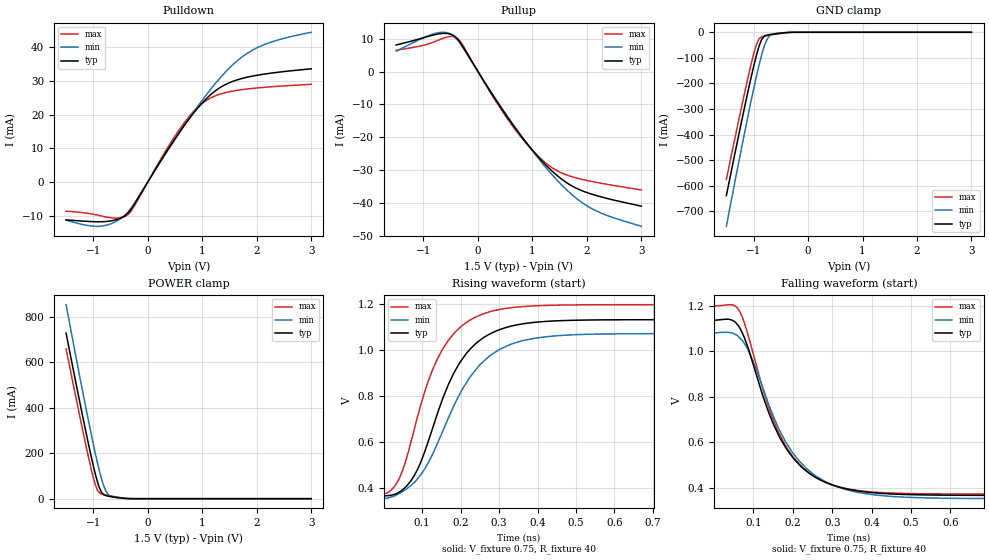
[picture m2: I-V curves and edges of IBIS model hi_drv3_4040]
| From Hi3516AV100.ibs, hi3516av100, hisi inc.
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|   Model hi_drv3_4040
[Model]   hi_drv3_4040
Model_type   I/O
Polarity   Non-Inverting
Enable   Active-High
Vinl = 0.575
Vinh = 0.925
Vmeas = 0.75
Cref = 0
Rref = 40
Vref = 0.75
| variable   typ   min   max
C_comp   3.71825p   3.5711p   3.88438p
| Subparameter   typ   min   max
[Model Spec]
Vinl   0.575   0.575   0.575
Vinh   0.925   0.925   0.925
Vmeas   0.75   0.75   0.75
Cref   0   0   0
Rref   40   40   40
Vref   0.75   0.75   0.75
| Variable   typ   min   max
[Temperature Range] 25   125   -40
| Variable   typ   min   max
[Voltage Range]   1.5   1.425   1.575
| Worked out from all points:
|   slope of the pulldown table from 0 to 0.225 V, typ, clamps not added: 37.7 ohm
|   slope of the pullup table from 0 to 0.225 V, typ, clamps not added: 37.6 ohm
|   GND clamp passes 1 mA (typ) near -0.39 V on its own axis
|   POWER clamp passes 1 mA (typ) near -0.41 V on its own axis
|   rising waveform, V_fixture 0.75, R_fixture 40: 20-80 % time 114ps typ, 135ps min, 103ps max; typ from 0.366 V to 1.13 V
|   falling waveform, V_fixture 0.75, R_fixture 40: 20-80 % time 114ps typ, 123ps min, 107ps max; typ from 1.14 V to 0.367 V
[Power_clamp]
| Note that the [POWER_clamp] voltage table is referenced to Vcc
| and is calculated using Vtable=Vcc - Vmeasured.
| Voltage   I(typ)   I(min)   I(max)
-1.5V     727.7mA    852.8mA    658.7mA
-1.125V   281.1mA    385.1mA    221.9mA
-1.025V   171mA      267.7mA    116.1mA
-975mV    120.3mA    211.6mA    70.26mA
-925mV    75.44mA    158.3mA    36.86mA
-900mV    54.88mA    133.8mA    29.99mA
-850mV    27.44mA    88.23mA    21.16mA
-775mV    14.07mA    35.68mA    16.66mA
-725mV    11.03mA    17.7mA     14.3mA
-625mV    7.126mA    6.658mA    9.778mA
-325mV    220.9uA    245.7uA    291.3uA
3V        -35.46nA   -806.7nA   -14.61nA
[Pulldown]
| Voltage   I(typ)   I(min)   I(max)
-1.5V     -11.25mA   -11.33mA   -8.681mA
-900mV    -11.82mA   -13.16mA   -9.914mA
-650mV    -11.47mA   -12.22mA   -10.69mA
-450mV    -10.33mA   -10.29mA   -10.43mA
-300mV    -7.938mA   -7.636mA   -8.489mA
600mV     15.21mA    15.08mA    16.01mA
850mV     20.64mA    20.93mA    21.1mA
1.05V     24.32mA    25.35mA    23.94mA
1.4V      28.71mA    32.2mA     26.41mA
1.85V     31.19mA    38.44mA    27.64mA
2.3V      32.38mA    41.7mA     28.29mA
3V        33.58mA    44.43mA    28.99mA
[Pullup]
| Voltage   I(typ)   I(min)   I(max)
-1.5V     8.071mA    6.185mA    6.47mA
-825mV    11.07mA    11.39mA    8.858mA
-625mV    11.59mA    11.93mA    10.19mA
-475mV    11.15mA    11.13mA    10.69mA
-325mV    8.772mA    8.49mA     9.171mA
225mV     -5.971mA   -5.809mA   -6.292mA
675mV     -16.96mA   -16.81mA   -17.44mA
1.225V    -28.05mA   -28.76mA   -27.55mA
1.6V      -33.48mA   -35.51mA   -31.27mA
1.975V    -36.65mA   -40.56mA   -33.02mA
2.375V    -38.61mA   -43.79mA   -34.31mA
3V        -40.93mA   -47.06mA   -36.01mA
[GND_clamp]
| Voltage   I(typ)   I(min)   I(max)
-1.5V     -638.4mA   -758mA     -574.9mA
-1.15V    -277.9mA   -376.6mA   -222.6mA
-1.05V    -180.7mA   -272.8mA   -128.8mA
-950mV    -91.74mA   -174.3mA   -48.96mA
-900mV    -54.39mA   -128.6mA   -25.47mA
-850mV    -27.43mA   -86.91mA   -17.81mA
-800mV    -14.76mA   -51.66mA   -15.26mA
-750mV    -10.72mA   -26.32mA   -13.3mA
-700mV    -8.829mA   -12.74mA   -11.42mA
-600mV    -5.884mA   -5.023mA   -7.823mA
-300mV    -153uA     -214.7uA   -185.4uA
3V        64.26nA    942.4nA    12.95nA
[Ramp]
| Variable   typ   min   max
dV/dt_r   0.463908/0.113802n 0.438317/0.122466n 0.498782/0.107301n
dV/dt_f   0.463908/0.113802n 0.438317/0.122466n 0.498782/0.107301n
R_load = 40
[Rising_Waveform]
V_fixture = 0.75
V_fixture_min = 0.7125
V_fixture_max = 0.7875
R_fixture = 40
| Time   V(typ)   V(min)   V(max)
700fs     366.4mV    354.3mV    374.8mV
41.96ps   384.2mV    378.1mV    447.6mV
78.41ps   451.4mV    423.2mV    649.2mV
124.9ps   649.4mV    540.4mV    906.5mV
180.2ps   893.3mV    750.4mV    1.069V
221ps     998.3mV    874.9mV    1.128V
275.3ps   1.07V      975.6mV    1.167V
351.3ps   1.112V     1.038V     1.189V
437.8ps   1.127V     1.062V     1.196V
18.53ns   1.133V     1.073V     1.199V
[Falling_Waveform]
V_fixture = 0.75
V_fixture_min = 0.7125
V_fixture_max = 0.7875
R_fixture = 40
| Time   V(typ)   V(min)   V(max)
450fs     1.135V     1.079V     1.198V
46.09ps   1.136V     1.08V      1.203V
65.81ps   1.101V     1.058V     1.173V
92.1ps    984.4mV    986.2mV    1.038V
124.9ps   800mV      835mV      829.5mV
159.1ps   649.5mV    680.6mV    662.6mV
226.8ps   484.7mV    498.8mV    486.4mV
331.9ps   397.2mV    393.4mV    398.2mV
506.7ps   369.8mV    357.5mV    374.5mV
18.53ns   366.8mV    352.5mV    372.5mV
